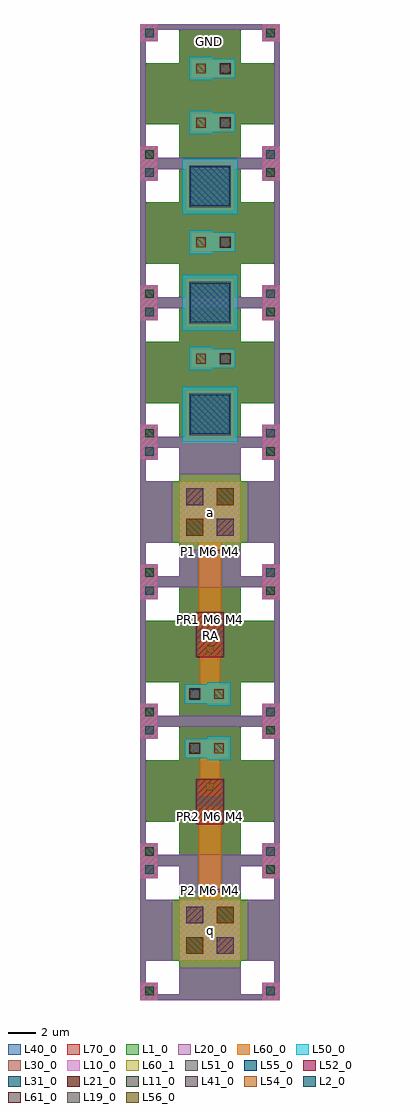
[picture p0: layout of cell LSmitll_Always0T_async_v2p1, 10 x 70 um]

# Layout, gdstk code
from math import pi, radians
import gdstk
lib = gdstk.Library(unit=1e-6, precision=1e-09)
def R(c, l, rs):  # rectangles x0, y0, x1, y1
    for r in rs: c.add(gdstk.rectangle(r[:2], r[2:], *l))
def P(c, l, *ps):  # polygons
    for p in ps: c.add(gdstk.Polygon(p, *l))
L1_0 = (1, 0)
L2_0 = (2, 0)
L10_0 = (10, 0)
L11_0 = (11, 0)
L19_0 = (19, 0)
L20_0 = (20, 0)
L21_0 = (21, 0)
L30_0 = (30, 0)
L31_0 = (31, 0)
L40_0 = (40, 0)
L41_0 = (41, 0)
L50_0 = (50, 0)
L51_0 = (51, 0)
L52_0 = (52, 0)
L54_0 = (54, 0)
L55_0 = (55, 0)
L56_0 = (56, 0)
L60_0 = (60, 0)
L60_1 = (60, 1)
L61_0 = (61, 0)
L70_0 = (70, 0)

ls_tr_m7 = lib.new_cell('ls_tr_M7')
P(ls_tr_m7, L70_0, [(0,0),(0,10),(1.25,10),(1.25,8.75),(0.4,8.75),(0.4,1.25),(1.25,1.25),(1.25,0.4),(2.8,0.4),(2.8,2.8),(0.4,2.8),(0.4,7.2),(2.8,7.2),(2.8,9.6),(1.25,9.6),(1.25,10),(7.2,10),(7.2,0.4),(8.75,0.4),(8.75,1.25),(9.6,1.25),(9.6,2.8),(7.2,2.8),(7.2,7.2),(9.6,7.2),(9.6,8.75),(8.75,8.75),(8.75,9.6),(7.2,9.6),(7.2,10),(10,10),(10,0)])

ls_conn_m4m5m6m7 = lib.new_cell('ls_conn_M4M5M6M7')
R(ls_conn_m4m5m6m7, L40_0, [(0,0,1.4,1.4)])
R(ls_conn_m4m5m6m7, L41_0, [(0.3,0.3,1.1,1.1)])
P(ls_conn_m4m5m6m7, L50_0, [(1.6,-0.15),(1.6,0),(0,0),(0,1.4),(1.6,1.4),(1.6,1.55),(3.3,1.55),(3.3,-0.15)])
R(ls_conn_m4m5m6m7, L54_0, [(2.1,0.35,2.8,1.05)])
R(ls_conn_m4m5m6m7, L60_0, [(0,0,3.15,1.4)])
R(ls_conn_m4m5m6m7, L61_0, [(0.35,0.35,1.05,1.05)])
R(ls_conn_m4m5m6m7, L70_0, [(0,0,1.4,1.4)])

ls_tr_u_m4 = lib.new_cell('ls_tr_u_M4')
P(ls_tr_u_m4, L1_0, [(0,0),(0,10),(1.25,10),(1.25,8.75),(0.4,8.75),(0.4,1.25),(1.25,1.25),(1.25,0.4),(2.8,0.4),(2.8,2.8),(0.4,2.8),(0.4,7.2),(2.8,7.2),(2.8,9.6),(1.25,9.6),(1.25,10),(7.2,10),(7.2,0.4),(8.75,0.4),(8.75,1.25),(9.6,1.25),(9.6,2.8),(7.2,2.8),(7.2,7.2),(9.6,7.2),(9.6,8.75),(8.75,8.75),(8.75,9.6),(7.2,9.6),(7.2,10),(10,10),(10,0)])
R(ls_tr_u_m4, L2_0, [(9.05,0.35,9.65,0.95), (0.35,9.05,0.95,9.65)])
R(ls_tr_u_m4, L10_0, [(0,0,1.25,1.25), (8.75,0,10,1.25), (0,8.75,1.25,10), (8.75,8.75,10,10)])
R(ls_tr_u_m4, L11_0, [(0.35,0.35,0.95,0.95), (9.05,9.05,9.65,9.65)])
P(ls_tr_u_m4, L20_0, [(0,0),(0,10),(1.25,10),(1.25,8.75),(0.4,8.75),(0.4,1.25),(1.25,1.25),(1.25,0.4),(8.75,0.4),(8.75,1.25),(9.6,1.25),(9.6,8.75),(8.75,8.75),(8.75,9.6),(1.25,9.6),(1.25,10),(10,10),(10,0)])
R(ls_tr_u_m4, L21_0, [(9.05,0.35,9.65,0.95), (0.35,9.05,0.95,9.65)])
R(ls_tr_u_m4, L30_0, [(0,0,1.25,1.25), (8.75,0,10,1.25), (0,8.75,1.25,10), (8.75,8.75,10,10)])
R(ls_tr_u_m4, L31_0, [(0.35,0.35,0.95,0.95), (9.05,9.05,9.65,9.65)])
P(ls_tr_u_m4, L40_0, [(0,0),(0,10),(1.25,10),(1.25,8.75),(0.4,8.75),(0.4,1.25),(1.25,1.25),(1.25,0.4),(2.8,0.4),(2.8,2.8),(0.4,2.8),(0.4,7.2),(2.8,7.2),(2.8,9.6),(1.25,9.6),(1.25,10),(7.2,10),(7.2,0.4),(8.75,0.4),(8.75,1.25),(9.6,1.25),(9.6,2.8),(7.2,2.8),(7.2,7.2),(9.6,7.2),(9.6,8.75),(8.75,8.75),(8.75,9.6),(7.2,9.6),(7.2,10),(10,10),(10,0)])

ls_tr_ptlconnection = lib.new_cell('ls_tr_PTLconnection')
P(ls_tr_ptlconnection, L1_0, [(0,0),(0,10),(1.25,10),(1.25,8.75),(0.4,8.75),(0.4,1.25),(1.25,1.25),(1.25,0.4),(2.8,0.4),(2.8,2.8),(0.4,2.8),(0.4,7.2),(2.8,7.2),(2.8,9.6),(1.25,9.6),(1.25,10),(7.2,10),(7.2,0.4),(8.75,0.4),(8.75,1.25),(9.6,1.25),(9.6,2.8),(7.2,2.8),(7.2,7.2),(9.6,7.2),(9.6,8.75),(8.75,8.75),(8.75,9.6),(7.2,9.6),(7.2,10),(10,10),(10,0)])
R(ls_tr_ptlconnection, L2_0, [(9.05,0.35,9.65,0.95), (0.35,9.05,0.95,9.65)])
R(ls_tr_ptlconnection, L10_0, [(0,0,1.25,1.25), (8.75,0,10,1.25), (2.8,2.8,7.2,7.2), (0,8.75,1.25,10), (8.75,8.75,10,10)])
R(ls_tr_ptlconnection, L11_0, [(0.35,0.35,0.95,0.95), (3.3,3.3,4.5,4.5), (5.5,5.5,6.7,6.7), (9.05,9.05,9.65,9.65)])
R(ls_tr_ptlconnection, L20_0, [(2.8,2.8,7.2,7.2)])
P(ls_tr_ptlconnection, L20_0, [(0,0),(0,10),(7.2,10),(7.2,7.7),(2.8,7.7),(2.8,9.6),(1.25,9.6),(1.25,8.75),(0.4,8.75),(0.4,7.2),(2.3,7.2),(2.3,2.8),(0.4,2.8),(0.4,1.25),(1.25,1.25),(1.25,0.4),(2.8,0.4),(2.8,2.3),(7.2,2.3),(7.2,0.4),(8.75,0.4),(8.75,1.25),(9.6,1.25),(9.6,2.8),(7.7,2.8),(7.7,7.2),(9.6,7.2),(9.6,8.75),(8.75,8.75),(8.75,9.6),(7.2,9.6),(7.2,10),(10,10),(10,0)])
R(ls_tr_ptlconnection, L21_0, [(9.05,0.35,9.65,0.95), (5.5,3.3,6.7,4.5), (3.3,5.5,4.5,6.7), (0.35,9.05,0.95,9.65)])
R(ls_tr_ptlconnection, L30_0, [(0,0,1.25,1.25), (8.75,0,10,1.25), (2.8,2.8,7.2,7.2), (0,8.75,1.25,10), (8.75,8.75,10,10)])
R(ls_tr_ptlconnection, L31_0, [(0.35,0.35,0.95,0.95), (3.3,3.3,4.5,4.5), (5.5,5.5,6.7,6.7), (9.05,9.05,9.65,9.65)])
R(ls_tr_ptlconnection, L40_0, [(2.8,2.8,7.2,7.2)])
P(ls_tr_ptlconnection, L40_0, [(0,0),(0,10),(7.2,10),(7.2,7.7),(2.8,7.7),(2.8,9.6),(1.25,9.6),(1.25,8.75),(0.4,8.75),(0.4,7.2),(2.3,7.2),(2.3,2.8),(0.4,2.8),(0.4,1.25),(1.25,1.25),(1.25,0.4),(2.8,0.4),(2.8,2.3),(7.2,2.3),(7.2,0.4),(8.75,0.4),(8.75,1.25),(9.6,1.25),(9.6,2.8),(7.7,2.8),(7.7,7.2),(9.6,7.2),(9.6,8.75),(8.75,8.75),(8.75,9.6),(7.2,9.6),(7.2,10),(10,10),(10,0)])
R(ls_tr_ptlconnection, L41_0, [(5.5,3.3,6.7,4.5), (3.3,5.5,4.5,6.7)])
R(ls_tr_ptlconnection, L50_0, [(2.8,2.8,7.2,7.2)])
R(ls_tr_ptlconnection, L54_0, [(3.3,3.3,4.5,4.5), (5.5,5.5,6.7,6.7)])
R(ls_tr_ptlconnection, L60_0, [(2.8,2.8,7.2,7.2)])
P(ls_tr_ptlconnection, L70_0, [(0,0),(0,10),(1.25,10),(1.25,8.75),(0.4,8.75),(0.4,1.25),(1.25,1.25),(1.25,0.4),(2.8,0.4),(2.8,2.8),(0.4,2.8),(0.4,7.2),(2.8,7.2),(2.8,9.6),(1.25,9.6),(1.25,10),(7.2,10),(7.2,0.4),(8.75,0.4),(8.75,1.25),(9.6,1.25),(9.6,2.8),(7.2,2.8),(7.2,7.2),(9.6,7.2),(9.6,8.75),(8.75,8.75),(8.75,9.6),(7.2,9.6),(7.2,10),(10,10),(10,0)])

ls_fakejj_3umx3um = lib.new_cell('ls_FakeJJ_3umx3um')
R(ls_fakejj_3umx3um, L40_0, [(-2,-2,2,2)])
R(ls_fakejj_3umx3um, L50_0, [(-2,-2,2,2)])
R(ls_fakejj_3umx3um, L51_0, [(-1.5,-1.5,1.5,1.5)])
R(ls_fakejj_3umx3um, L55_0, [(-1.4,-1.4,1.4,1.4)])
R(ls_fakejj_3umx3um, L60_0, [(-1.75,-1.75,1.75,1.75)])

ls_res_2 = lib.new_cell('ls_res_2')
R(ls_res_2, L52_0, [(-1,0,1,3.225)])
R(ls_res_2, L56_0, [(-0.26,0.29,0.26,0.81), (-0.26,2.44,0.26,2.96)])
R(ls_res_2, L60_0, [(-0.625,-0.1,0.625,1.175), (-0.625,2.075,0.625,3.325)])

lsmitll_always0t_async_v = lib.new_cell('LSmitll_Always0T_async_v2p1')
R(lsmitll_always0t_async_v, L19_0, [(4.74,12.89,5.26,13.41), (4.74,27.04,5.26,27.56)])
R(lsmitll_always0t_async_v, L60_1, [(2.8,2.8,7.2,7.2), (2.8,32.8,7.2,37.2)])
lsmitll_always0t_async_v.add(gdstk.FlexPath([(5,33.25),(5,26.675)], 1.6, ends="flush", simple_path=True, layer=60, datatype=0))  # L60_0
lsmitll_always0t_async_v.add(gdstk.FlexPath([(5,25.775),(5,22.55)], 1.5, ends="flush", simple_path=True, layer=60, datatype=0))  # L60_0
lsmitll_always0t_async_v.add(gdstk.FlexPath([(5,6.55),(5,13.775)], 1.6, ends="flush", simple_path=True, layer=60, datatype=0))  # L60_0
lsmitll_always0t_async_v.add(gdstk.FlexPath([(5,14.675),(5,17.9)], 1.5, ends="flush", simple_path=True, layer=60, datatype=0))  # L60_0
lsmitll_always0t_async_v.add(gdstk.FlexPath([(4.2,32.15),(5.8,32.15)], 0.2, ends="flush", simple_path=True, layer=19, datatype=0))  # L19_0
lsmitll_always0t_async_v.add(gdstk.FlexPath([(4.2,7.85),(5.8,7.85)], 0.2, ends="flush", simple_path=True, layer=19, datatype=0))  # L19_0
lsmitll_always0t_async_v.add(gdstk.Reference(ls_tr_m7, (0,60)))
lsmitll_always0t_async_v.add(gdstk.Reference(ls_conn_m4m5m6m7, (6.8,46.7), rotation=pi))
lsmitll_always0t_async_v.add(gdstk.Reference(ls_tr_m7, (0,20)))
lsmitll_always0t_async_v.add(gdstk.Reference(ls_conn_m4m5m6m7, (3.2,21.25)))
lsmitll_always0t_async_v.add(gdstk.Reference(ls_tr_m7, (0,40)))
lsmitll_always0t_async_v.add(gdstk.Reference(ls_tr_u_m4, (0,40)))
lsmitll_always0t_async_v.add(gdstk.Reference(ls_tr_ptlconnection, (0,30)))
lsmitll_always0t_async_v.add(gdstk.Reference(ls_tr_ptlconnection, (0,0)))
lsmitll_always0t_async_v.add(gdstk.Reference(ls_conn_m4m5m6m7, (3.2,17.35)))
lsmitll_always0t_async_v.add(gdstk.Reference(ls_tr_u_m4, (0,10)))
lsmitll_always0t_async_v.add(gdstk.Reference(ls_tr_u_m4, (0,50)))
lsmitll_always0t_async_v.add(gdstk.Reference(ls_tr_m7, (0,10)))
lsmitll_always0t_async_v.add(gdstk.Reference(ls_tr_m7, (0,50)))
lsmitll_always0t_async_v.add(gdstk.Reference(ls_tr_u_m4, (0,20)))
lsmitll_always0t_async_v.add(gdstk.Reference(ls_fakejj_3umx3um, (5,50)))
lsmitll_always0t_async_v.add(gdstk.Reference(ls_fakejj_3umx3um, (5,42)))
lsmitll_always0t_async_v.add(gdstk.Reference(ls_tr_u_m4, (0,60)))
lsmitll_always0t_async_v.add(gdstk.Reference(ls_fakejj_3umx3um, (5,58.35)))
lsmitll_always0t_async_v.add(gdstk.Reference(ls_conn_m4m5m6m7, (6.8,55.05), rotation=pi))
lsmitll_always0t_async_v.add(gdstk.Reference(ls_conn_m4m5m6m7, (6.8,63.625), rotation=pi))
lsmitll_always0t_async_v.add(gdstk.Reference(ls_conn_m4m5m6m7, (6.8,67.5), rotation=pi))
lsmitll_always0t_async_v.add(gdstk.Reference(ls_res_2, (5,24.6)))
lsmitll_always0t_async_v.add(gdstk.Reference(ls_res_2, (5,12.6)))
lsmitll_always0t_async_v.add(gdstk.Label('P2 M6 M4', (5,7.85), layer=182, texttype=0))
lsmitll_always0t_async_v.add(gdstk.Label('PR2 M6 M4', (5,13.15), layer=182, texttype=0))
lsmitll_always0t_async_v.add(gdstk.Label('PR1 M6 M4', (5,27.3), layer=182, texttype=0))
lsmitll_always0t_async_v.add(gdstk.Label('P1 M6 M4', (5,32.15), layer=182, texttype=0))
lsmitll_always0t_async_v.add(gdstk.Label('a', (5,35), layer=182, texttype=0))
lsmitll_always0t_async_v.add(gdstk.Label('q', (5,5), layer=182, texttype=0))
lsmitll_always0t_async_v.add(gdstk.Label('RA', (5,26.141), layer=52, texttype=1))
lsmitll_always0t_async_v.add(gdstk.Label('RQ', (5,14.116), layer=52, texttype=1))
lsmitll_always0t_async_v.add(gdstk.Label('GND', (4.95,68.725), layer=40, texttype=1))
lsmitll_always0t_async_v.add(gdstk.Label('a', (5,35.125), layer=60, texttype=1))
lsmitll_always0t_async_v.add(gdstk.Label('q', (5.025,4.975), layer=60, texttype=1))

lib.write_gds('LSmitll_Always0T_async_v2p1.gds')
